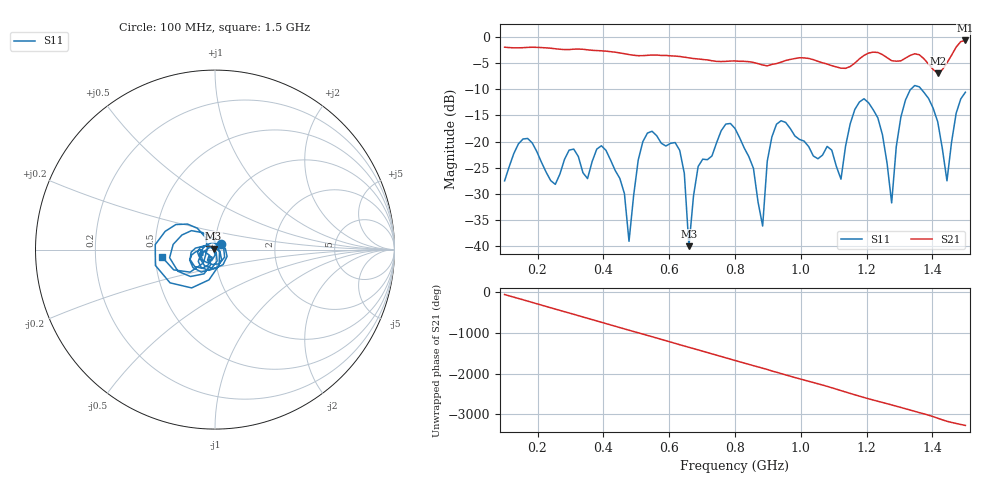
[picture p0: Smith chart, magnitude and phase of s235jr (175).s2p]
! NanoVNA-App
! Date: 2025-09-25 15:05:31
! Start: 100MHz Stop: 1,5GHz Points: 101
! S-Parameter data: F S11 S21 S12 S22
# Hz S RI R 50
!  Frequency  S11_Real  S11_Imag  S21_Real  S21_Imag  S12_Real  S12_Imag  S22_Real  S22_Imag
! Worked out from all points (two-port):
!   101 points, 100 MHz to 1.5 GHz, reference 50 ohm
!   highest |S21| = -0.68 dB at 1.5 GHz (marker M1); lowest = -6.9 dB at 1.416 GHz (marker M2)
!   |S21| within 3 dB of the highest: start of sweep to 621.2 MHz; 1.189 GHz to 1.255 GHz (66.15 MHz wide, 5.41 % of centre) (the widest 2 of 4)
!   lowest |S11| = -39.9 dB at 660 MHz (marker M3), VSWR 1.02, Z = 49.2 + j0.574 ohm
!   |S11| at or under -10 dB: start of sweep to 1.334 GHz; 1.366 GHz to end of sweep
!   S12 and S22 are empty: the file has one direction only
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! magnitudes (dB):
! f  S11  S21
! 100 MHz  -27.5  -2.0
! 170 MHz  -19.4  -2.0
! 338 MHz  -25.9  -2.4
! 408 MHz  -21.7  -2.7
! 478 MHz  -39.0  -3.4
! 520 MHz  -20.0  -3.6
! 576 MHz  -20.3  -3.5
! 632 MHz  -21.6  -3.7
! 660 MHz  -39.9  -4.0
! 688 MHz  -24.7  -4.2
! 800 MHz  -17.5  -4.6
! 884 MHz  -36.1  -5.4
! 926 MHz  -16.7  -5.1
! 1.038 GHz  -22.7  -4.3
! 1.122 GHz  -27.2  -6.0
! 1.192 GHz  -11.8  -3.5
! 1.248 GHz  -18.7  -3.4
! 1.276 GHz  -31.7  -4.5
! 1.332 GHz  -10.1  -3.5
! 1.416 GHz  -16.2  -6.9
! 1.444 GHz  -27.5  -5.0
! 1.5 GHz  -10.6  -0.7
